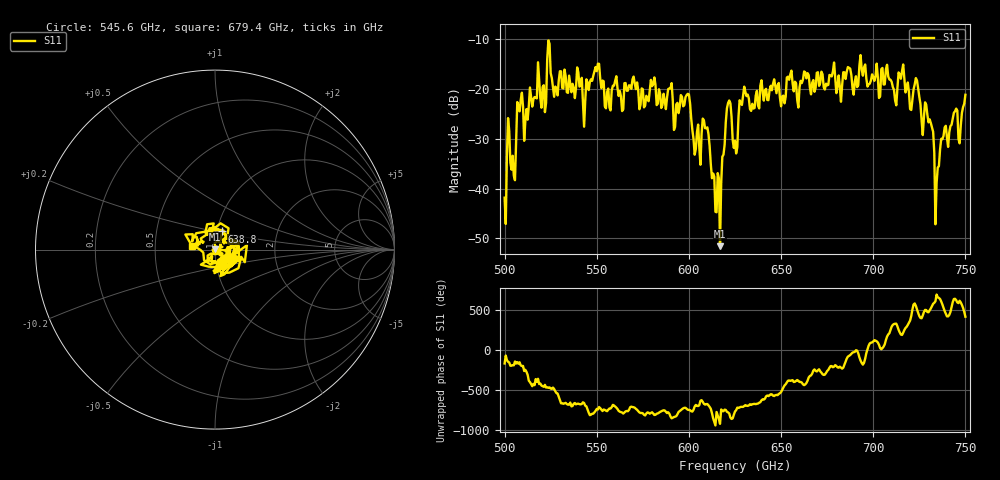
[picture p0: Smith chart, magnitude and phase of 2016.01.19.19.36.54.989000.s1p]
!Created with skrf (http://scikit-rf.org).
# GHz S RI R 50.0
!freq ReS11 ImS11
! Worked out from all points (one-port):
!   401 points, 500 GHz to 750 GHz, reference 50 ohm
!   lowest |S11| = -51.6 dB at 616.9 GHz (marker M1), VSWR 1.01, Z = 49.8 + j0.0975 ohm
!   |S11| at or under -10 dB: start of sweep to end of sweep
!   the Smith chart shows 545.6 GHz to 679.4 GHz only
!   S11 on the Smith chart (normalised r, x): 545.6 GHz: 1.08, -0.19; 638.8 GHz: 1.06, +0.22; 679.4 GHz: 0.77, +0.03
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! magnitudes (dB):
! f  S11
! 500 GHz  -41.8
! 502.5 GHz  -28.4
! 505 GHz  -37.4
! 508.1 GHz  -24.5
! 521.2 GHz  -19.2
! 524.4 GHz  -10.9
! 527.5 GHz  -19.5
! 531.2 GHz  -19.7
! 545.6 GHz  -20.2
! 562.5 GHz  -20.4
! 593.8 GHz  -22.8
! 599.4 GHz  -21.0
! 605 GHz  -27.1
! 608.8 GHz  -27.9
! 613.8 GHz  -37.6
! 616.9 GHz  -51.6
! 621.2 GHz  -22.8
! 625 GHz  -30.4
! 628.8 GHz  -23.2
! 638.8 GHz  -19.3
! 656.2 GHz  -18.9
! 679.4 GHz  -17.8
! 687.5 GHz  -15.9
! 718.8 GHz  -18.7
! 729.4 GHz  -25.2
! 734.4 GHz  -38.9
! 738.1 GHz  -29.4
! 750 GHz  -21.1
